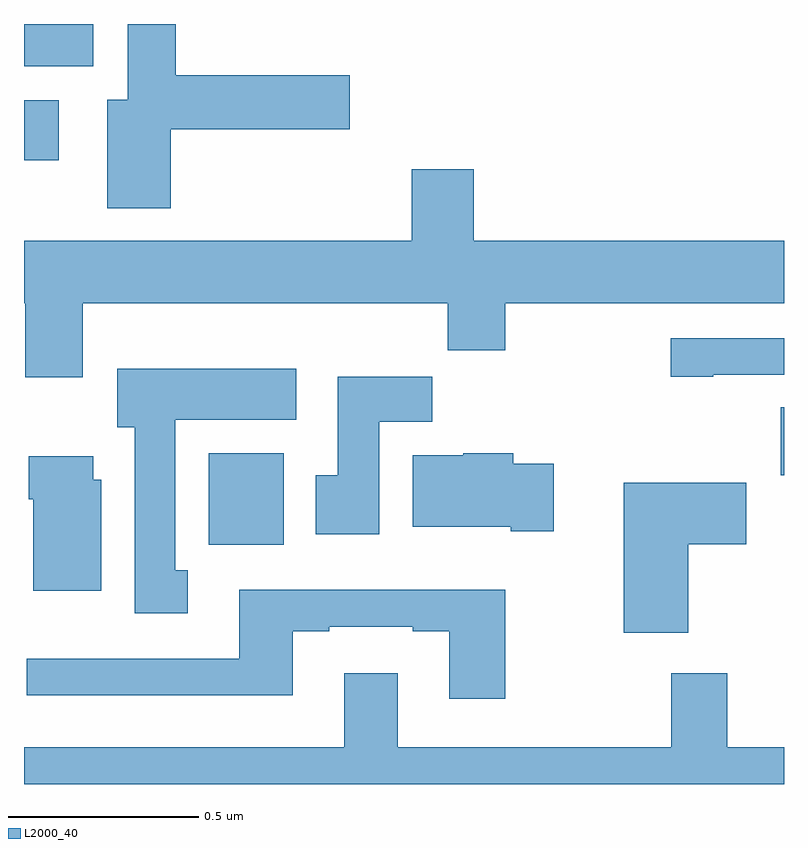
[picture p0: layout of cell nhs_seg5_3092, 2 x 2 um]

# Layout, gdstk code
import gdstk
lib = gdstk.Library(unit=1e-6, precision=1e-09)
def R(c, l, rs):  # rectangles x0, y0, x1, y1
    for r in rs: c.add(gdstk.rectangle(r[:2], r[2:], *l))
def P(c, l, *ps):  # polygons
    for p in ps: c.add(gdstk.Polygon(p, *l))
L2000_40 = (2000, 40)

nhs_seg5_3092 = lib.new_cell('nhs_seg5_3092')
R(nhs_seg5_3092, L2000_40, [(152.486,885.428,152.683,885.67), (153.992,885.612,154,885.791), (152,886.44,152.092,886.599), (152,886.688,152.182,886.799)])
P(nhs_seg5_3092, L2000_40, [(152.386,886.522),(152.857,886.522),(152.857,886.664),(152.399,886.664),(152.399,886.799),(152.273,886.799),(152.273,886.6),(152.219,886.6),(152.219,886.314),(152.386,886.314)],
  [(152.155,886.064),(153.115,886.064),(153.115,885.94),(153.267,885.94),(153.267,886.064),(154,886.064),(154,886.228),(153.184,886.228),(153.184,886.417),(153.02,886.417),(153.02,886.228),(152,886.228),(152,886.064),(152.003,886.064),(152.003,885.87),(152.155,885.87)],
  [(153.814,885.876),(154,885.876),(154,885.972),(153.702,885.972),(153.702,885.871),(153.814,885.871)],
  [(152.431,885.362),(152.398,885.362),(152.398,885.758),(152.716,885.758),(152.716,885.892),(152.246,885.892),(152.246,885.738),(152.291,885.738),(152.291,885.249),(152.431,885.249)],
  [(152.935,885.752),(153.074,885.752),(153.074,885.871),(152.825,885.871),(152.825,885.612),(152.768,885.612),(152.768,885.456),(152.935,885.456)],
  [(153.394,885.642),(153.287,885.642),(153.287,885.67),(153.156,885.67),(153.156,885.664),(153.023,885.664),(153.023,885.476),(153.281,885.476),(153.281,885.464),(153.394,885.464)],
  [(152.203,885.6),(152.182,885.6),(152.182,885.661),(152.012,885.661),(152.012,885.548),(152.024,885.548),(152.024,885.308),(152.203,885.308)],
  [(153.748,885.43),(153.901,885.43),(153.901,885.592),(153.578,885.592),(153.578,885.197),(153.748,885.197)],
  [(153.267,885.31),(152.567,885.31),(152.567,885.129),(152.007,885.129),(152.007,885.032),(152.707,885.032),(152.707,885.201),(152.803,885.201),(152.803,885.213),(153.023,885.213),(153.023,885.201),(153.119,885.201),(153.119,885.024),(153.267,885.024)],
  [(154,884.896),(153.85,884.896),(153.85,885.091),(153.703,885.091),(153.703,884.896),(152.983,884.896),(152.983,885.091),(152.843,885.091),(152.843,884.896),(152,884.896),(152,884.799),(154,884.799)])

lib.write_gds('nhs_seg5_3092.gds')
